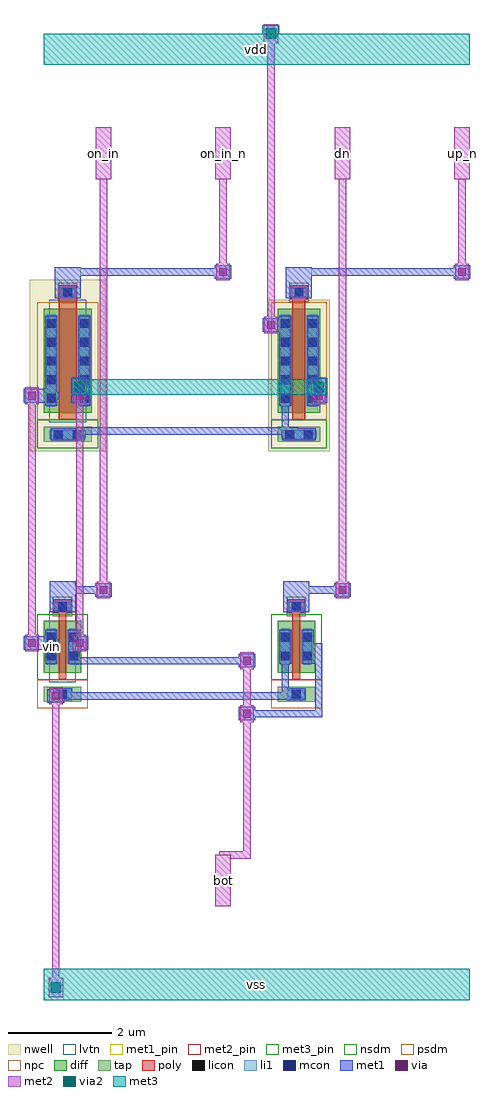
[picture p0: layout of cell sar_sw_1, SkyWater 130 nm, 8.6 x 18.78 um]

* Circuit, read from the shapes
.subckt sar_sw_1 bot dn on_in on_in_n up_n vdd vin vss
XM1 bot on_in vin vss sky130_fd_pr__nfet_01v8_lvt w=1 l=0.15
XM2 bot dn vss vss sky130_fd_pr__nfet_01v8 w=1 l=0.15
XM3 bot on_in_n vin vdd sky130_fd_pr__pfet_01v8_lvt w=2 l=0.35
XM4 bot up_n vdd vdd sky130_fd_pr__pfet_01v8 w=2 l=0.25
.ends

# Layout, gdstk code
import gdstk
lib = gdstk.Library(unit=1e-6, precision=1e-09)
def R(c, l, rs):  # rectangles x0, y0, x1, y1
    for r in rs: c.add(gdstk.rectangle(r[:2], r[2:], *l))
def A(c, l, x, y, w, h, nx, ny, dx, dy):  # array of equal rectangles
    R(c, l, [(x+i*dx, y+j*dy, x+i*dx+w, y+j*dy+h) for i in range(nx) for j in range(ny)])
nwell = (64, 20)
diff = (65, 20)
tap = (65, 44)
poly = (66, 20)
licon = (66, 44)
li1 = (67, 20)
mcon = (67, 44)
met1_pin = (68, 16)
met1 = (68, 20)
via = (68, 44)
met2_pin = (69, 16)
met2 = (69, 20)
via2 = (69, 44)
met3_pin = (70, 16)
met3 = (70, 20)
nsdm = (93, 44)
psdm = (94, 20)
npc = (95, 20)
lvtn = (125, 44)

pin_met3_w8p2u_l0p6u = lib.new_cell('pin_met3_w8p2u_l0p6u')
R(pin_met3_w8p2u_l0p6u, met3_pin, [(0,0,8.2,0.6)])
R(pin_met3_w8p2u_l0p6u, met3, [(0,0,8.2,0.6)])
pin_met3_w8p2u_l0p6u.add(gdstk.Label('P', (4.1,0.3), layer=70, texttype=16))

pin_met2_w0p3u_l1u = lib.new_cell('pin_met2_w0p3u_l1u')
R(pin_met2_w0p3u_l1u, met2_pin, [(0,0,0.3,1)])
R(pin_met2_w0p3u_l1u, met2, [(0,0,0.3,1)])
pin_met2_w0p3u_l1u.add(gdstk.Label('P', (0.15,0.5), layer=69, texttype=16))

pfet_01v8_w2u_l0p25u_nf1 = lib.new_cell('pfet_01v8_w2u_l0p25u_nf1_m1')
R(pfet_01v8_w2u_l0p25u_nf1, nwell, [(-0.18,-0.74,1,2.18)])
R(pfet_01v8_w2u_l0p25u_nf1, diff, [(0,0,0.82,2)])
R(pfet_01v8_w2u_l0p25u_nf1, tap, [(0,-0.56,0.82,-0.27)])
R(pfet_01v8_w2u_l0p25u_nf1, poly, [(0.285,-0.13,0.535,2.185), (0.245,2.185,0.575,2.455)])
A(pfet_01v8_w2u_l0p25u_nf1, licon, 0.06, 0.195, 0.17, 0.17, 1, 5, 0, 0.36)
A(pfet_01v8_w2u_l0p25u_nf1, licon, 0.59, 0.195, 0.17, 0.17, 1, 5, 0, 0.36)
R(pfet_01v8_w2u_l0p25u_nf1, licon, [(0.145,-0.5,0.315,-0.33), (0.505,-0.5,0.675,-0.33), (0.325,2.235,0.495,2.405)])
R(pfet_01v8_w2u_l0p25u_nf1, li1, [(0.065,-0.5,0.755,-0.33), (0.06,0.115,0.23,1.885), (0.59,0.115,0.76,1.885), (0.245,2.235,0.575,2.405)])
A(pfet_01v8_w2u_l0p25u_nf1, mcon, 0.06, 0.195, 0.17, 0.17, 1, 5, 0, 0.36)
A(pfet_01v8_w2u_l0p25u_nf1, mcon, 0.59, 0.195, 0.17, 0.17, 1, 5, 0, 0.36)
R(pfet_01v8_w2u_l0p25u_nf1, mcon, [(0.145,-0.5,0.315,-0.33), (0.505,-0.5,0.675,-0.33), (0.325,2.235,0.495,2.405)])
R(pfet_01v8_w2u_l0p25u_nf1, met1_pin, [(0.085,-0.53,0.735,-0.3), (0.03,0.135,0.26,1.865), (0.56,0.135,0.79,1.865), (0.16,2.205,0.66,2.805)])
R(pfet_01v8_w2u_l0p25u_nf1, met1, [(0.085,-0.53,0.735,-0.3), (0.03,0.135,0.26,1.865), (0.56,0.135,0.79,1.865), (0.16,2.205,0.66,2.805)])
R(pfet_01v8_w2u_l0p25u_nf1, nsdm, [(-0.125,-0.685,0.945,-0.135)])
R(pfet_01v8_w2u_l0p25u_nf1, psdm, [(-0.125,-0.135,0.945,2.125)])
R(pfet_01v8_w2u_l0p25u_nf1, npc, [(0.225,2.135,0.595,2.505)])
pfet_01v8_w2u_l0p25u_nf1.add(gdstk.Label('B', (0.41,-0.415), layer=68, texttype=16))
pfet_01v8_w2u_l0p25u_nf1.add(gdstk.Label('G', (0.41,2.505), layer=68, texttype=16))
pfet_01v8_w2u_l0p25u_nf1.add(gdstk.Label('D', (0.675,1), layer=68, texttype=16))
pfet_01v8_w2u_l0p25u_nf1.add(gdstk.Label('S', (0.145,1), layer=68, texttype=16))

pfet_01v8_lvt_w2u_l0p35u = lib.new_cell('pfet_01v8_lvt_w2u_l0p35u_nf1_m1')
R(pfet_01v8_lvt_w2u_l0p35u, nwell, [(-0.275,-0.74,1.195,2.56), (-0.18,-0.74,1.1,2.18)])
R(pfet_01v8_lvt_w2u_l0p35u, diff, [(0,0,0.92,2)])
R(pfet_01v8_lvt_w2u_l0p35u, tap, [(0,-0.56,0.92,-0.27)])
R(pfet_01v8_lvt_w2u_l0p35u, poly, [(0.285,-0.13,0.635,2.185), (0.285,2.185,0.635,2.455)])
A(pfet_01v8_lvt_w2u_l0p35u, licon, 0.06, 0.195, 0.17, 0.17, 1, 5, 0, 0.36)
A(pfet_01v8_lvt_w2u_l0p35u, licon, 0.69, 0.195, 0.17, 0.17, 1, 5, 0, 0.36)
R(pfet_01v8_lvt_w2u_l0p35u, licon, [(0.195,-0.5,0.365,-0.33), (0.555,-0.5,0.725,-0.33), (0.375,2.235,0.545,2.405)])
R(pfet_01v8_lvt_w2u_l0p35u, li1, [(0.115,-0.5,0.805,-0.33), (0.06,0.115,0.23,1.885), (0.69,0.115,0.86,1.885), (0.295,2.235,0.625,2.405)])
A(pfet_01v8_lvt_w2u_l0p35u, mcon, 0.06, 0.195, 0.17, 0.17, 1, 5, 0, 0.36)
A(pfet_01v8_lvt_w2u_l0p35u, mcon, 0.69, 0.195, 0.17, 0.17, 1, 5, 0, 0.36)
R(pfet_01v8_lvt_w2u_l0p35u, mcon, [(0.195,-0.5,0.365,-0.33), (0.555,-0.5,0.725,-0.33), (0.375,2.235,0.545,2.405)])
R(pfet_01v8_lvt_w2u_l0p35u, met1_pin, [(0.135,-0.53,0.785,-0.3), (0.03,0.135,0.26,1.865), (0.66,0.135,0.89,1.865), (0.21,2.205,0.71,2.805)])
R(pfet_01v8_lvt_w2u_l0p35u, met1, [(0.135,-0.53,0.785,-0.3), (0.03,0.135,0.26,1.865), (0.66,0.135,0.89,1.865), (0.21,2.205,0.71,2.805)])
R(pfet_01v8_lvt_w2u_l0p35u, nsdm, [(-0.125,-0.685,1.045,-0.135)])
R(pfet_01v8_lvt_w2u_l0p35u, psdm, [(-0.125,-0.135,1.045,2.125)])
R(pfet_01v8_lvt_w2u_l0p35u, npc, [(0.275,2.135,0.645,2.505)])
R(pfet_01v8_lvt_w2u_l0p35u, lvtn, [(0.105,-0.18,0.815,2.18)])
pfet_01v8_lvt_w2u_l0p35u.add(gdstk.Label('B', (0.46,-0.415), layer=68, texttype=16))
pfet_01v8_lvt_w2u_l0p35u.add(gdstk.Label('G', (0.46,2.505), layer=68, texttype=16))
pfet_01v8_lvt_w2u_l0p35u.add(gdstk.Label('D', (0.775,1), layer=68, texttype=16))
pfet_01v8_lvt_w2u_l0p35u.add(gdstk.Label('S', (0.145,1), layer=68, texttype=16))

nfet_01v8_w1u_l0p15u_nf1 = lib.new_cell('nfet_01v8_w1u_l0p15u_nf1_m1')
R(nfet_01v8_w1u_l0p15u_nf1, diff, [(0,0,0.72,1)])
R(nfet_01v8_w1u_l0p15u_nf1, tap, [(0,-0.56,0.72,-0.27)])
R(nfet_01v8_w1u_l0p15u_nf1, poly, [(0.285,-0.13,0.435,1.14), (0.195,1.14,0.525,1.41)])
R(nfet_01v8_w1u_l0p15u_nf1, licon, [(0.275,-0.5,0.445,-0.33), (0.06,0.235,0.23,0.405), (0.49,0.235,0.66,0.405), (0.06,0.595,0.23,0.765), (0.49,0.595,0.66,0.765), (0.275,1.19,0.445,1.36)])
R(nfet_01v8_w1u_l0p15u_nf1, li1, [(0.195,-0.5,0.525,-0.33), (0.06,0.155,0.23,0.845), (0.49,0.155,0.66,0.845), (0.195,1.19,0.525,1.36)])
R(nfet_01v8_w1u_l0p15u_nf1, mcon, [(0.275,-0.5,0.445,-0.33), (0.06,0.235,0.23,0.405), (0.49,0.235,0.66,0.405), (0.06,0.595,0.23,0.765), (0.49,0.595,0.66,0.765), (0.275,1.19,0.445,1.36)])
R(nfet_01v8_w1u_l0p15u_nf1, met1_pin, [(0.175,-0.53,0.545,-0.3), (0.03,0.175,0.26,0.825), (0.46,0.175,0.69,0.825), (0.11,1.16,0.61,1.76)])
R(nfet_01v8_w1u_l0p15u_nf1, met1, [(0.175,-0.53,0.545,-0.3), (0.03,0.175,0.26,0.825), (0.46,0.175,0.69,0.825), (0.11,1.16,0.61,1.76)])
R(nfet_01v8_w1u_l0p15u_nf1, nsdm, [(-0.125,-0.135,0.845,1.125)])
R(nfet_01v8_w1u_l0p15u_nf1, psdm, [(-0.125,-0.685,0.845,-0.135)])
R(nfet_01v8_w1u_l0p15u_nf1, npc, [(0.175,1.09,0.545,1.46)])
nfet_01v8_w1u_l0p15u_nf1.add(gdstk.Label('B', (0.36,-0.415), layer=68, texttype=16))
nfet_01v8_w1u_l0p15u_nf1.add(gdstk.Label('G', (0.36,1.46), layer=68, texttype=16))
nfet_01v8_w1u_l0p15u_nf1.add(gdstk.Label('D', (0.575,0.5), layer=68, texttype=16))
nfet_01v8_w1u_l0p15u_nf1.add(gdstk.Label('S', (0.145,0.5), layer=68, texttype=16))

nfet_01v8_lvt_w1u_l0p15u = lib.new_cell('nfet_01v8_lvt_w1u_l0p15u_nf1_m1')
R(nfet_01v8_lvt_w1u_l0p15u, diff, [(0,0,0.72,1)])
R(nfet_01v8_lvt_w1u_l0p15u, tap, [(0,-0.56,0.72,-0.27)])
R(nfet_01v8_lvt_w1u_l0p15u, poly, [(0.285,-0.13,0.435,1.14), (0.195,1.14,0.525,1.41)])
R(nfet_01v8_lvt_w1u_l0p15u, licon, [(0.275,-0.5,0.445,-0.33), (0.06,0.235,0.23,0.405), (0.49,0.235,0.66,0.405), (0.06,0.595,0.23,0.765), (0.49,0.595,0.66,0.765), (0.275,1.19,0.445,1.36)])
R(nfet_01v8_lvt_w1u_l0p15u, li1, [(0.195,-0.5,0.525,-0.33), (0.06,0.155,0.23,0.845), (0.49,0.155,0.66,0.845), (0.195,1.19,0.525,1.36)])
R(nfet_01v8_lvt_w1u_l0p15u, mcon, [(0.275,-0.5,0.445,-0.33), (0.06,0.235,0.23,0.405), (0.49,0.235,0.66,0.405), (0.06,0.595,0.23,0.765), (0.49,0.595,0.66,0.765), (0.275,1.19,0.445,1.36)])
R(nfet_01v8_lvt_w1u_l0p15u, met1_pin, [(0.175,-0.53,0.545,-0.3), (0.03,0.175,0.26,0.825), (0.46,0.175,0.69,0.825), (0.11,1.16,0.61,1.76)])
R(nfet_01v8_lvt_w1u_l0p15u, met1, [(0.175,-0.53,0.545,-0.3), (0.03,0.175,0.26,0.825), (0.46,0.175,0.69,0.825), (0.11,1.16,0.61,1.76)])
R(nfet_01v8_lvt_w1u_l0p15u, nsdm, [(-0.125,-0.135,0.845,1.125)])
R(nfet_01v8_lvt_w1u_l0p15u, psdm, [(-0.125,-0.685,0.845,-0.135)])
R(nfet_01v8_lvt_w1u_l0p15u, npc, [(0.175,1.09,0.545,1.46)])
R(nfet_01v8_lvt_w1u_l0p15u, lvtn, [(0.105,-0.18,0.615,1.18)])
nfet_01v8_lvt_w1u_l0p15u.add(gdstk.Label('B', (0.36,-0.415), layer=68, texttype=16))
nfet_01v8_lvt_w1u_l0p15u.add(gdstk.Label('G', (0.36,1.46), layer=68, texttype=16))
nfet_01v8_lvt_w1u_l0p15u.add(gdstk.Label('D', (0.575,0.5), layer=68, texttype=16))
nfet_01v8_lvt_w1u_l0p15u.add(gdstk.Label('S', (0.145,0.5), layer=68, texttype=16))

sar_sw_1 = lib.new_cell('sar_sw_1')
R(sar_sw_1, met1, [(3.75,2.08,4.07,2.34), (3.84,2.14,5.36,2.28), (5.22,2.14,5.36,3.57), (0.07,2.42,0.39,2.68), (0.16,2.48,4.9,2.62), (4.575,2.48,4.715,3.57), (4.575,2.48,4.9,2.62), (3.75,3.1,4.07,3.36), (0.62,3.16,3.98,3.3), (5.19,3.175,5.22,3.57), (5.19,3.175,5.22,3.57), (5.19,3.175,5.22,3.57), (5.005,3.43,5.36,3.57), (-0.39,3.44,-0.07,3.7), (-0.07,3.44,0.03,3.7), (-0.07,3.44,0.03,3.7), (-0.07,3.44,0.03,3.7), (0.53,3.44,0.85,3.7), (-0.3,3.5,0.3,3.64), (0.99,4.46,1.31,4.72), (5.59,4.46,5.91,4.72), (0.16,4.52,1.22,4.66), (4.76,4.52,5.82,4.66), (0.62,7.58,4.9,7.72), (4.575,7.58,4.715,9.07), (4.575,7.58,4.9,7.72), (-0.39,8.2,-0.07,8.46), (-0.07,8.2,0.03,8.46), (-0.07,8.2,0.03,8.46), (-0.07,8.2,0.03,8.46), (0.53,8.2,0.85,8.46), (5.13,8.2,5.45,8.46), (-0.3,8.26,0.3,8.4), (4.575,8.93,4.715,9.76), (4.21,9.56,4.53,9.82), (4.3,9.62,4.715,9.76), (3.29,10.58,3.61,10.84), (7.89,10.58,8.21,10.84), (0.62,10.64,3.52,10.78), (4.76,10.64,8.12,10.78)])
R(sar_sw_1, via, [(3.835,2.135,3.985,2.285), (0.155,2.475,0.305,2.625), (3.835,3.155,3.985,3.305), (-0.305,3.495,-0.155,3.645), (0.615,3.495,0.765,3.645), (1.075,4.515,1.225,4.665), (5.675,4.515,5.825,4.665), (-0.305,8.255,-0.155,8.405), (0.615,8.255,0.765,8.405), (5.215,8.255,5.365,8.405), (4.295,9.615,4.445,9.765), (3.375,10.635,3.525,10.785), (7.975,10.635,8.125,10.785)])
R(sar_sw_1, met2, [(0.09,-3.245,0.37,-2.875), (0.16,-3.13,0.3,2.62), (3.38,-0.58,3.98,-0.44), (3.84,-0.58,3.98,2.28), (3.78,2.05,4.04,2.37), (3.84,2.14,3.98,3.3), (0.1,2.39,0.36,2.71), (3.78,3.07,4.04,3.39), (-0.36,3.41,-0.1,3.73), (0.56,3.41,0.82,3.73), (-0.3,3.5,-0.16,8.4), (0.62,3.5,0.76,8.4), (1.02,4.43,1.28,4.75), (5.62,4.43,5.88,4.75), (1.08,4.52,1.22,12.65), (5.68,4.52,5.82,12.65), (-0.36,8.17,-0.1,8.49), (0.56,8.17,0.82,8.49), (5.16,8.17,5.42,8.49), (0.62,8.26,0.76,8.57), (5.22,8.26,5.36,8.57), (0.55,8.315,0.83,8.685), (5.15,8.315,5.43,8.685), (4.24,9.53,4.5,9.85), (4.3,9.62,4.44,15.37), (3.32,10.55,3.58,10.87), (7.92,10.55,8.18,10.87), (3.38,10.64,3.52,12.65), (7.98,10.64,8.12,12.65), (4.23,15.115,4.51,15.485)])
R(sar_sw_1, via2, [(0.13,-3.16,0.33,-2.96), (0.59,8.4,0.79,8.6), (5.19,8.4,5.39,8.6), (4.27,15.2,4.47,15.4)])
R(sar_sw_1, met3, [(0.065,-3.225,0.395,-2.895), (0.525,8.335,0.855,8.665), (5.125,8.335,5.455,8.665), (0.54,8.35,5.44,8.65), (4.205,15.135,4.535,15.465)])
sar_sw_1.add(gdstk.Reference(pin_met3_w8p2u_l0p6u, (0,-3.3)))
sar_sw_1.add(gdstk.Reference(pin_met3_w8p2u_l0p6u, (0,14.7)))
sar_sw_1.add(gdstk.Reference(pin_met2_w0p3u_l1u, (3.3,-1.5)))
sar_sw_1.add(gdstk.Reference(pfet_01v8_w2u_l0p25u_nf1, (4.5,8)))
sar_sw_1.add(gdstk.Reference(pin_met2_w0p3u_l1u, (5.6,12.5)))
sar_sw_1.add(gdstk.Reference(pin_met2_w0p3u_l1u, (3.3,12.5)))
sar_sw_1.add(gdstk.Reference(pfet_01v8_lvt_w2u_l0p35u, (0,8)))
sar_sw_1.add(gdstk.Reference(nfet_01v8_w1u_l0p15u_nf1, (4.5,3)))
sar_sw_1.add(gdstk.Reference(pin_met2_w0p3u_l1u, (7.9,12.5)))
sar_sw_1.add(gdstk.Reference(pin_met2_w0p3u_l1u, (1,12.5)))
sar_sw_1.add(gdstk.Reference(nfet_01v8_lvt_w1u_l0p15u, (0,3)))
sar_sw_1.add(gdstk.Label('vin', (0.145,3.5), layer=67, texttype=16))
sar_sw_1.add(gdstk.Label('vss', (4.1,-3), layer=70, texttype=16))
sar_sw_1.add(gdstk.Label('vdd', (4.1,15), layer=70, texttype=16))
sar_sw_1.add(gdstk.Label('up_n', (8.05,13), layer=69, texttype=16))
sar_sw_1.add(gdstk.Label('on_in_n', (3.45,13), layer=69, texttype=16))
sar_sw_1.add(gdstk.Label('on_in', (1.15,13), layer=69, texttype=16))
sar_sw_1.add(gdstk.Label('dn', (5.75,13), layer=69, texttype=16))
sar_sw_1.add(gdstk.Label('bot', (3.45,-1), layer=69, texttype=16))

lib.write_gds('sar_sw_1.gds')
